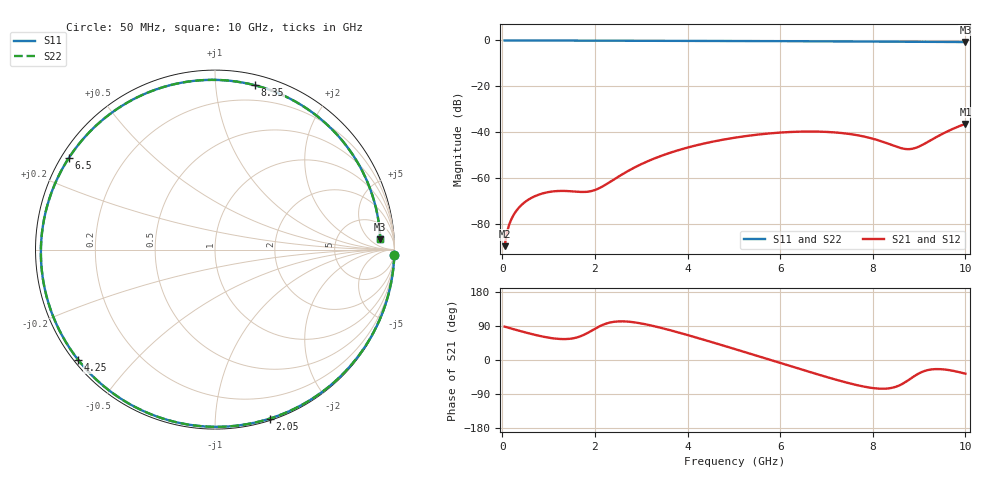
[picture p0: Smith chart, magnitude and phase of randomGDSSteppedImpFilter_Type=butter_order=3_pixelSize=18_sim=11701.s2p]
! freq	dB(S11)	phase(S11)	dB(S12)	phase(S12)
!  dB(S21)	phase(S21)	dB(S22)	phase(S22)
!S-par simulation data
#  GHz  S  DB  R 50
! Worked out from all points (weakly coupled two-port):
!   200 points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, 50 MHz to 10 GHz, reference 50 ohm
!   highest |S21| = -36.31 dB at 10 GHz (marker M1); lowest = -89.6 dB at 50 MHz (marker M2)
!   lowest |S11| = -0.7 dB at 10 GHz (marker M3), VSWR 24.87, Z = 774 + j602 ohm
!   |S11| at or under -10 dB: nowhere
!   |S22| runs from -0.7 to 0.0 dB; largest |S21 - S12| = 0
!   S11 on the Smith chart (normalised r, x): 50 MHz: 1, -62; 2.05 GHz: 0.01, -1.37; 4.25 GHz: 0.01, -0.35; 6.5 GHz: 0.02, +0.29; 8.35 GHz: 0.08, +1.27; 10 GHz: 15, +12
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0.05  -0.00 -1.9  -89.58 88.1  -89.58 88.1  -0.00 -1.8
0.15  -0.01 -5.5  -80.11 84.5  -80.11 84.5  -0.01 -5.5
0.3  -0.01 -10.9  -74.27 79.3  -74.27 79.3  -0.01 -10.9
0.45  -0.02 -16.4  -71.01 74.3  -71.01 74.3  -0.02 -16.4
0.75  -0.03 -27.2  -67.43 65.1  -67.43 65.1  -0.03 -27.2
1.15  -0.05 -41.3  -65.62 56.4  -65.62 56.4  -0.05 -41.3
1.75  -0.08 -62.0  -65.98 65.8  -65.98 65.8  -0.08 -62.0
2.05  -0.09 -72.1  -64.74 85.7  -64.74 85.7  -0.09 -72.1
2.7  -0.11 -93.3  -57.02 101.4  -57.02 101.4  -0.11 -93.2
3.4  -0.14 -115.2  -50.49 85.7  -50.49 85.7  -0.14 -115.2
4.25  -0.18 -141.0  -45.37 57.1  -45.37 57.1  -0.18 -141.0
5.05  -0.23 -165.3  -42.25 27.9  -42.25 27.9  -0.23 -165.3
5.8  -0.29 171.2  -40.43 -0.2  -40.43 -0.2  -0.29 171.2
6.5  -0.34 147.9  -39.68 -26.4  -39.68 -26.4  -0.34 147.9
6.7  -0.36 140.9  -39.66 -33.9  -39.66 -33.9  -0.36 140.9
7.6  -0.45 107.3  -41.04 -64.6  -41.04 -64.6  -0.45 107.3
8  -0.48 91.1  -42.78 -74.0  -42.78 -74.0  -0.48 91.1
8.35  -0.52 76.4  -45.09 -74.8  -45.09 -74.8  -0.52 76.4
8.7  -0.55 61.2  -47.25 -58.7  -47.25 -58.7  -0.55 61.2
8.9  -0.57 52.4  -46.94 -42.3  -46.94 -42.3  -0.57 52.4
9.45  -0.63 27.8  -41.24 -24.1  -41.24 -24.1  -0.63 27.9
10  -0.70 3.6  -36.31 -36.1  -36.31 -36.1  -0.70 3.6
